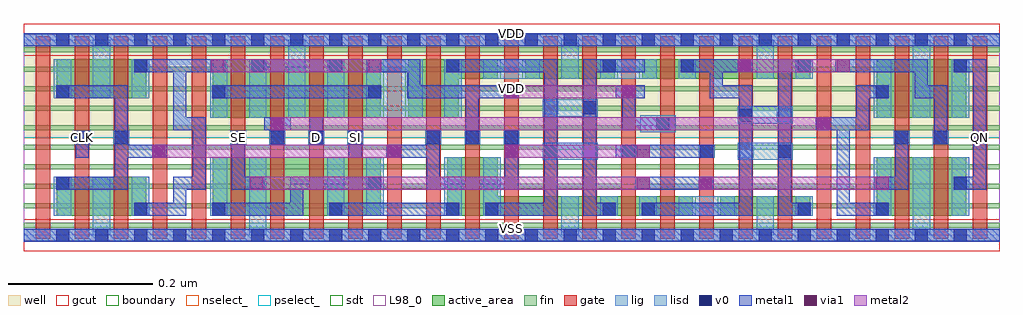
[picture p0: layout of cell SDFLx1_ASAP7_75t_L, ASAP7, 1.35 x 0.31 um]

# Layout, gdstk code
import gdstk
lib = gdstk.Library(unit=1e-6, precision=2.5e-10)
def R(c, l, rs):  # rectangles x0, y0, x1, y1
    for r in rs: c.add(gdstk.rectangle(r[:2], r[2:], *l))
def A(c, l, x, y, w, h, nx, ny, dx, dy):  # array of equal rectangles
    R(c, l, [(x+i*dx, y+j*dy, x+i*dx+w, y+j*dy+h) for i in range(nx) for j in range(ny)])
def P(c, l, *ps):  # polygons
    for p in ps: c.add(gdstk.Polygon(p, *l))
well = (1, 0)
fin = (2, 0)
gate = (7, 0)
gcut = (10, 0)
active_area = (11, 0)
nselect_ = (12, 0)
pselect_ = (13, 0)
lig = (16, 0)
lisd = (17, 0)
v0 = (18, 0)
metal1 = (19, 0)
metal2 = (20, 0)
via1 = (21, 0)
sdt = (88, 0)
L98_0 = (98, 0)
boundary = (100, 0)

sdflx1_asap7_75t_l = lib.new_cell('SDFLx1_ASAP7_75t_L')
R(sdflx1_asap7_75t_l, well, [(0,0.135,1.35,0.27)])
A(sdflx1_asap7_75t_l, fin, 0, 0.01, 1.35, 0.007, 1, 10, 0, 0.027)
A(sdflx1_asap7_75t_l, gate, 0.017, -0.005, 0.02, 0.28, 25, 1, 0.054, 0)
R(sdflx1_asap7_75t_l, gcut, [(0,-0.022,1.35,0.022), (0,0.248,1.35,0.292)])
R(sdflx1_asap7_75t_l, active_area, [(0.046,0.027,0.17,0.081), (0.262,0.027,0.494,0.108), (0.964,0.027,1.088,0.054), (1.18,0.027,1.304,0.108), (0.262,0.162,0.494,0.243), (1.18,0.162,1.304,0.243), (0.046,0.189,0.17,0.243), (0.694,0.216,0.818,0.243), (0.856,0.216,1.088,0.243)])
P(sdflx1_asap7_75t_l, active_area, [(0.586,0.027),(0.586,0.108),(0.656,0.108),(0.656,0.054),(0.926,0.054),(0.926,0.027)],
  [(0.532,0.162),(0.532,0.243),(0.656,0.243),(0.656,0.216),(0.602,0.216),(0.602,0.162)])
R(sdflx1_asap7_75t_l, nselect_, [(0,0,1.35,0.135)])
R(sdflx1_asap7_75t_l, pselect_, [(0,0.135,1.35,0.27)])
A(sdflx1_asap7_75t_l, lig, 0.286, 0.126, 0.022, 0.018, 4, 1, 0.054, 0)
A(sdflx1_asap7_75t_l, lig, 0.556, 0.126, 0.022, 0.018, 3, 1, 0.054, 0)
R(sdflx1_asap7_75t_l, lig, [(0,-0.008,1.35,0.008), (0.772,0.107,0.794,0.125), (0.826,0.107,0.848,0.125), (0.934,0.107,0.956,0.125), (0.988,0.107,1.01,0.125), (0.07,0.126,0.092,0.144), (0.124,0.126,0.146,0.144), (1.204,0.126,1.226,0.144), (1.258,0.126,1.28,0.144), (0.88,0.145,0.902,0.163), (1.042,0.157,1.064,0.175), (0.718,0.167,0.74,0.185), (0,0.262,1.35,0.278)])
R(sdflx1_asap7_75t_l, lisd, [(0.096,0,0.12,0.081), (0.096,0,0.12,0.081), (0.312,0,0.336,0.108), (0.312,0,0.336,0.108), (0.744,0,0.768,0.054), (1.014,0,1.038,0.054), (1.23,0,1.254,0.108), (1.23,0,1.254,0.108), (0.042,0.027,0.066,0.081), (0.15,0.027,0.174,0.081), (0.258,0.027,0.282,0.108), (0.42,0.027,0.444,0.108), (0.474,0.027,0.498,0.108), (0.582,0.027,0.606,0.108), (0.636,0.027,0.66,0.108), (0.798,0.027,0.822,0.054), (0.852,0.027,0.876,0.054), (0.906,0.027,0.984,0.054), (1.068,0.027,1.092,0.054), (1.176,0.027,1.2,0.108), (1.284,0.027,1.308,0.108), (0.718,0.104,0.794,0.128), (0.988,0.104,1.064,0.128), (0.853,0.142,0.902,0.166), (0.988,0.154,1.064,0.178), (0.258,0.162,0.282,0.243), (0.312,0.162,0.336,0.243), (0.366,0.162,0.39,0.27), (0.366,0.162,0.39,0.27), (0.42,0.162,0.444,0.243), (0.474,0.162,0.552,0.243), (0.474,0.162,0.498,0.243), (0.582,0.162,0.606,0.243), (1.176,0.162,1.2,0.243), (1.23,0.162,1.254,0.27), (1.23,0.162,1.254,0.27), (1.284,0.162,1.308,0.243), (0.718,0.164,0.794,0.188), (0.042,0.189,0.066,0.243), (0.096,0.189,0.12,0.27), (0.096,0.189,0.12,0.27), (0.15,0.189,0.174,0.243), (0.636,0.216,0.714,0.243), (0.744,0.216,0.768,0.27), (0.798,0.216,0.876,0.243), (0.798,0.216,0.822,0.243), (0.906,0.216,0.93,0.243), (1.014,0.216,1.038,0.27), (1.068,0.216,1.092,0.243)])
A(sdflx1_asap7_75t_l, v0, 0.045, -0.009, 0.018, 0.018, 24, 2, 0.054, 0.27)
A(sdflx1_asap7_75t_l, v0, 0.261, 0.027, 0.018, 0.018, 3, 1, 0.162, 0)
A(sdflx1_asap7_75t_l, v0, 0.72, 0.107, 0.018, 0.018, 4, 1, 0.108, 0)
A(sdflx1_asap7_75t_l, v0, 0.288, 0.126, 0.018, 0.018, 4, 1, 0.054, 0)
A(sdflx1_asap7_75t_l, v0, 0.558, 0.126, 0.018, 0.018, 3, 1, 0.054, 0)
A(sdflx1_asap7_75t_l, v0, 0.045, 0.189, 0.018, 0.018, 3, 1, 0.216, 0)
R(sdflx1_asap7_75t_l, v0, [(0.153,0.027,0.171,0.045), (0.639,0.027,0.657,0.045), (0.801,0.027,0.819,0.045), (0.855,0.027,0.873,0.045), (1.071,0.027,1.089,0.045), (1.179,0.027,1.197,0.045), (0.045,0.063,0.063,0.081), (0.477,0.063,0.495,0.081), (1.287,0.063,1.305,0.081), (0.072,0.126,0.09,0.144), (0.126,0.126,0.144,0.144), (1.206,0.126,1.224,0.144), (1.26,0.126,1.278,0.144), (0.875,0.145,0.893,0.163), (0.99,0.157,1.008,0.175), (0.774,0.167,0.792,0.185), (1.179,0.189,1.197,0.207), (0.153,0.225,0.171,0.243), (0.315,0.225,0.333,0.243), (0.423,0.225,0.441,0.243), (0.585,0.225,0.603,0.243), (0.801,0.225,0.819,0.243), (0.909,0.225,0.927,0.243), (1.071,0.225,1.089,0.243), (1.287,0.225,1.305,0.243)])
A(sdflx1_asap7_75t_l, metal1, 0.261, 0.027, 0.018, 0.018, 3, 1, 0.162, 0)
A(sdflx1_asap7_75t_l, metal1, 0.72, 0.107, 0.018, 0.018, 4, 1, 0.108, 0)
A(sdflx1_asap7_75t_l, metal1, 0.288, 0.126, 0.018, 0.018, 4, 1, 0.054, 0)
A(sdflx1_asap7_75t_l, metal1, 0.558, 0.126, 0.018, 0.018, 3, 1, 0.054, 0)
A(sdflx1_asap7_75t_l, metal1, 0.045, 0.189, 0.018, 0.018, 3, 1, 0.216, 0)
A(sdflx1_asap7_75t_l, metal1, 0.909, 0.225, 0.018, 0.018, 3, 1, 0.081, 0)
R(sdflx1_asap7_75t_l, metal1, [(0,-0.009,1.35,0.009), (0.153,0.027,0.171,0.045), (0.423,0.027,0.603,0.045), (0.639,0.027,0.657,0.045), (0.801,0.027,0.819,0.045), (0.855,0.027,0.873,0.045), (1.071,0.027,1.089,0.045), (1.179,0.027,1.197,0.045), (0.045,0.063,0.063,0.081), (0.315,0.063,0.333,0.081), (0.477,0.063,0.495,0.081), (0.846,0.063,0.954,0.081), (0.936,0.063,0.954,0.081), (1.177,0.063,1.199,0.081), (1.287,0.063,1.305,0.081), (0.072,0.107,0.09,0.144), (0.18,0.107,0.198,0.125), (0.45,0.107,0.468,0.144), (0.502,0.107,0.524,0.125), (0.666,0.107,0.684,0.125), (0.819,0.107,0.848,0.125), (0.828,0.107,0.954,0.125), (0.072,0.126,0.09,0.144), (0.126,0.126,0.144,0.144), (0.342,0.126,0.36,0.163), (0.396,0.126,0.414,0.163), (1.206,0.126,1.224,0.144), (1.26,0.126,1.278,0.144), (0.333,0.145,0.37,0.163), (0.855,0.145,0.902,0.163), (1.096,0.145,1.118,0.163), (0.99,0.157,1.008,0.175), (0.774,0.167,0.792,0.185), (0.261,0.189,0.495,0.207), (0.666,0.189,0.684,0.207), (0.819,0.189,0.859,0.207), (1.179,0.189,1.197,0.207), (0.153,0.225,0.171,0.243), (0.261,0.225,0.279,0.243), (0.315,0.225,0.333,0.243), (0.315,0.225,0.441,0.243), (0.423,0.225,0.441,0.243), (0.475,0.225,0.497,0.243), (0.585,0.225,0.603,0.243), (0.801,0.225,0.859,0.243), (1.123,0.225,1.145,0.243), (1.287,0.225,1.305,0.243), (0,0.261,1.35,0.279)])
P(sdflx1_asap7_75t_l, metal1, [(0.855,0.027),(0.855,0.045),(0.99,0.045),(0.99,0.189),(0.949,0.189),(0.949,0.225),(0.909,0.225),(0.909,0.243),(1.008,0.243),(1.008,0.225),(0.967,0.225),(0.967,0.207),(1.008,0.207),(1.008,0.027)],
  [(0.261,0.027),(0.261,0.045),(0.369,0.045),(0.369,0.081),(0.495,0.081),(0.495,0.063),(0.387,0.063),(0.387,0.027)],
  [(0.045,0.063),(0.045,0.081),(0.126,0.081),(0.126,0.189),(0.045,0.189),(0.045,0.207),(0.144,0.207),(0.144,0.125),(0.198,0.125),(0.198,0.107),(0.144,0.107),(0.144,0.063)],
  [(0.558,0.063),(0.558,0.107),(0.504,0.107),(0.504,0.125),(0.558,0.125),(0.558,0.144),(0.576,0.144),(0.576,0.081),(0.666,0.081),(0.666,0.144),(0.684,0.144),(0.684,0.063)],
  [(0.612,0.126),(0.612,0.189),(0.531,0.189),(0.531,0.225),(0.477,0.225),(0.477,0.243),(0.549,0.243),(0.549,0.207),(0.684,0.207),(0.684,0.189),(0.63,0.189),(0.63,0.126)],
  [(0.153,0.027),(0.153,0.045),(0.207,0.045),(0.207,0.081),(0.234,0.081),(0.234,0.145),(0.207,0.145),(0.207,0.225),(0.153,0.225),(0.153,0.243),(0.279,0.243),(0.279,0.225),(0.225,0.225),(0.225,0.163),(0.252,0.163),(0.252,0.063),(0.225,0.063),(0.225,0.027)],
  [(0.828,0.145),(0.828,0.207),(0.846,0.207),(0.846,0.163),(0.873,0.163),(0.873,0.145)],
  [(0.774,0.027),(0.774,0.243),(0.819,0.243),(0.819,0.225),(0.792,0.225),(0.792,0.045),(0.819,0.045),(0.819,0.027)],
  [(0.639,0.027),(0.639,0.045),(0.72,0.045),(0.72,0.225),(0.585,0.225),(0.585,0.243),(0.738,0.243),(0.738,0.027)],
  [(0.288,0.063),(0.288,0.144),(0.306,0.144),(0.306,0.081),(0.333,0.081),(0.333,0.063)],
  [(1.179,0.063),(1.179,0.081),(1.206,0.081),(1.206,0.144),(1.224,0.144),(1.224,0.063)],
  [(1.125,0.027),(1.125,0.145),(1.098,0.145),(1.098,0.163),(1.152,0.163),(1.152,0.207),(1.197,0.207),(1.197,0.189),(1.17,0.189),(1.17,0.145),(1.143,0.145),(1.143,0.045),(1.197,0.045),(1.197,0.027)],
  [(1.26,0.126),(1.26,0.189),(1.233,0.189),(1.233,0.225),(1.125,0.225),(1.125,0.243),(1.251,0.243),(1.251,0.207),(1.278,0.207),(1.278,0.126)],
  [(1.044,0.027),(1.044,0.243),(1.089,0.243),(1.089,0.225),(1.062,0.225),(1.062,0.045),(1.089,0.045),(1.089,0.027)],
  [(1.287,0.063),(1.287,0.081),(1.314,0.081),(1.314,0.225),(1.287,0.225),(1.287,0.243),(1.332,0.243),(1.332,0.063)])
R(sdflx1_asap7_75t_l, metal2, [(0.313,0.063,0.866,0.081), (0.934,0.063,1.197,0.081), (0.178,0.107,0.522,0.125), (0.666,0.107,0.866,0.125), (0.342,0.145,1.116,0.163), (0.664,0.189,0.846,0.207), (0.259,0.225,0.495,0.243), (0.988,0.225,1.143,0.243)])
R(sdflx1_asap7_75t_l, via1, [(0.313,0.063,0.331,0.081), (0.848,0.063,0.866,0.081), (0.934,0.063,0.952,0.081), (1.179,0.063,1.197,0.081), (0.178,0.107,0.196,0.125), (0.504,0.107,0.522,0.125), (0.666,0.107,0.684,0.125), (0.848,0.107,0.866,0.125), (0.342,0.145,0.36,0.163), (1.098,0.145,1.116,0.163), (0.664,0.189,0.682,0.207), (0.828,0.189,0.846,0.207), (0.259,0.225,0.277,0.243), (0.477,0.225,0.495,0.243), (0.988,0.225,1.006,0.243), (1.125,0.225,1.143,0.243)])
A(sdflx1_asap7_75t_l, sdt, 0.744, 0.027, 0.024, 0.027, 7, 1, 0.054, 0)
A(sdflx1_asap7_75t_l, sdt, 0.258, 0.162, 0.024, 0.081, 3, 1, 0.054, 0)
A(sdflx1_asap7_75t_l, sdt, 0.366, 0.162, 0.024, 0.081, 5, 1, 0.054, 0)
A(sdflx1_asap7_75t_l, sdt, 0.636, 0.216, 0.024, 0.027, 6, 1, 0.054, 0)
R(sdflx1_asap7_75t_l, sdt, [(0.042,0.027,0.066,0.081), (0.096,0.027,0.12,0.081), (0.096,0.027,0.12,0.081), (0.15,0.027,0.174,0.081), (0.258,0.027,0.282,0.108), (0.312,0.027,0.336,0.108), (0.312,0.027,0.336,0.108), (0.42,0.027,0.444,0.108), (0.474,0.027,0.498,0.108), (0.582,0.027,0.606,0.108), (0.636,0.027,0.66,0.108), (1.176,0.027,1.2,0.108), (1.23,0.027,1.254,0.108), (1.23,0.027,1.254,0.108), (1.284,0.027,1.308,0.108), (1.176,0.162,1.2,0.243), (1.23,0.162,1.254,0.243), (1.23,0.162,1.254,0.243), (1.284,0.162,1.308,0.243), (0.042,0.189,0.066,0.243), (0.096,0.189,0.12,0.243), (0.096,0.189,0.12,0.243), (0.15,0.189,0.174,0.243), (1.014,0.216,1.038,0.243), (1.068,0.216,1.092,0.243)])
R(sdflx1_asap7_75t_l, L98_0, [(0,0,1.35,0.27)])
R(sdflx1_asap7_75t_l, boundary, [(0,0,1.35,0.27)])
sdflx1_asap7_75t_l.add(gdstk.Label('VDD', (0.675,0.2025), layer=1, texttype=251))
sdflx1_asap7_75t_l.add(gdstk.Label('VSS', (0.675,-0.0675), layer=3, texttype=251))
sdflx1_asap7_75t_l.add(gdstk.Label('VSS', (0.675,0.009), layer=19, texttype=251))
sdflx1_asap7_75t_l.add(gdstk.Label('VDD', (0.675,0.279), layer=19, texttype=251))
sdflx1_asap7_75t_l.add(gdstk.Label('CLK', (0.081,0.135), layer=19, texttype=251))
sdflx1_asap7_75t_l.add(gdstk.Label('D', (0.405,0.135), layer=19, texttype=251))
sdflx1_asap7_75t_l.add(gdstk.Label('SI', (0.459,0.135), layer=19, texttype=251))
sdflx1_asap7_75t_l.add(gdstk.Label('SE', (0.297,0.135), layer=19, texttype=251))
sdflx1_asap7_75t_l.add(gdstk.Label('QN', (1.323,0.135), layer=19, texttype=251))

lib.write_gds('SDFLx1_ASAP7_75t_L.gds')
